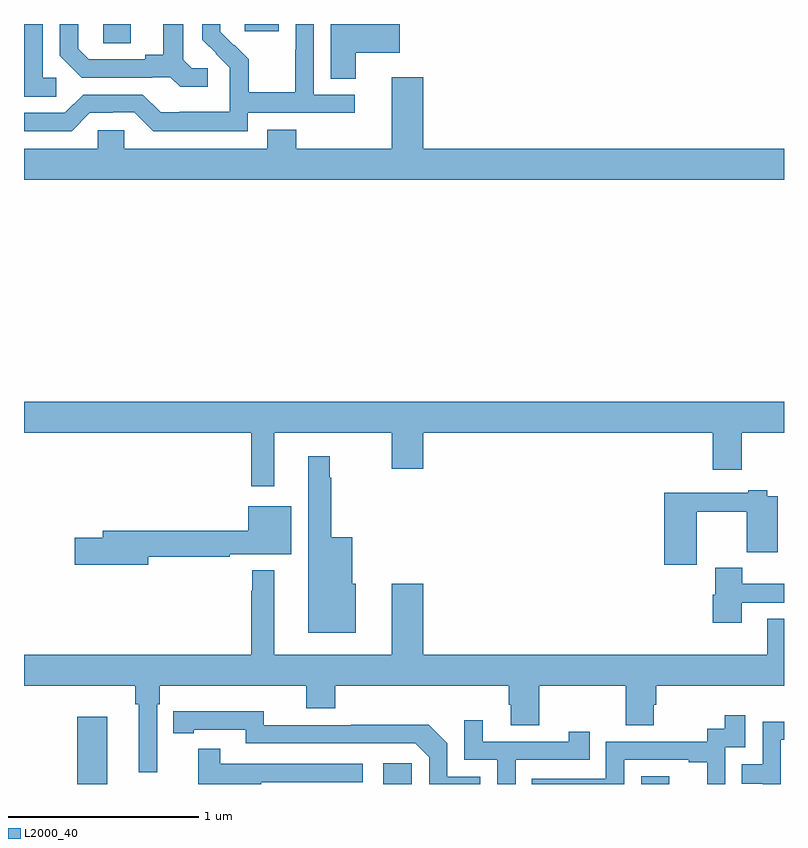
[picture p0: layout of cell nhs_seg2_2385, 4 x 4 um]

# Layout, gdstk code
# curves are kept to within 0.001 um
import gdstk
lib = gdstk.Library(unit=1e-6, precision=1e-09)
def R(c, l, rs):  # rectangles x0, y0, x1, y1
    for r in rs: c.add(gdstk.rectangle(r[:2], r[2:], *l))
def P(c, l, *ps):  # polygons
    for p in ps: c.add(gdstk.Polygon(p, *l))
L2000_40 = (2000, 40)

nhs_seg2_2385 = lib.new_cell('nhs_seg2_2385')
R(nhs_seg2_2385, L2000_40, [(235.28,633.8,235.438,634.153), (236.892,633.8,237.042,633.91), (238.248,633.8,238.396,633.841), (235.416,637.699,235.561,637.8), (236.162,637.761,236.341,637.8)])
P(nhs_seg2_2385, L2000_40, [(236.178,637.332),(236.74,637.332),(236.74,637.428),(236.526,637.428),(236.526,637.8),(236.43,637.8),(236.43,637.664),(236.428,637.664),(236.428,637.441),(236.183,637.441),(236.183,637.615),(236.106,637.692),(236.103,637.689),(236.033,637.76),(236.033,637.8),(235.938,637.8),(235.938,637.718),(236.084,637.57),(236.084,637.473),(236.082,637.473),(236.082,637.339),(235.819,637.339),(235.819,637.335),(235.719,637.335),(235.626,637.428),(235.311,637.428),(235.215,637.332),(235,637.332),(235,637.236),(235.251,637.236),(235.347,637.332),(235.466,637.332),(235.466,637.335),(235.581,637.335),(235.681,637.235),(236.178,637.235)],
  [(235.171,637.518),(235.098,637.518),(235.098,637.8),(235.002,637.8),(235.002,637.417),(235.171,637.417)],
  [(235.966,637.566),(235.884,637.566),(235.837,637.613),(235.837,637.8),(235.733,637.8),(235.733,637.637),(235.637,637.637),(235.637,637.614),(235.342,637.614),(235.285,637.671),(235.285,637.8),(235.188,637.8),(235.188,637.634),(235.304,637.518),(235.676,637.518),(235.676,637.521),(235.77,637.521),(235.822,637.469),(235.966,637.469)],
  [(236.746,637.649),(236.977,637.649),(236.977,637.8),(236.615,637.8),(236.615,637.513),(236.746,637.513)],
  [(239,637.144),(237.1,637.144),(237.1,637.519),(236.936,637.519),(236.936,637.144),(236.432,637.144),(236.432,637.243),(236.279,637.243),(236.279,637.144),(235.527,637.144),(235.527,637.242),(235.389,637.242),(235.389,637.144),(235,637.144),(235,636.98),(239,636.98)],
  [(236.317,635.648),(236.936,635.648),(236.936,635.46),(237.1,635.46),(237.1,635.648),(238.625,635.648),(238.625,635.454),(238.777,635.454),(238.777,635.648),(239,635.648),(239,635.812),(235,635.812),(235,635.648),(236.196,635.648),(236.196,635.367),(236.317,635.367)],
  [(236.746,634.854),(236.728,634.854),(236.728,635.098),(236.617,635.098),(236.617,635.411),(236.609,635.411),(236.609,635.524),(236.495,635.524),(236.495,634.595),(236.746,634.595)],
  [(238.54,635.233),(238.804,635.233),(238.804,635.021),(238.966,635.021),(238.966,635.314),(238.911,635.314),(238.911,635.347),(238.811,635.347),(238.811,635.334),(238.37,635.334),(238.37,634.953),(238.54,634.953)],
  [(235.654,634.996),(236.084,634.996),(236.084,635.009),(236.407,635.009),(236.407,635.263),(236.18,635.263),(236.18,635.132),(235.415,635.132),(235.415,635.096),(235.266,635.096),(235.266,634.954),(235.654,634.954)],
  [(238.777,634.755),(239,634.755),(239,634.855),(238.78,634.855),(238.78,634.939),(238.637,634.939),(238.637,634.797),(238.625,634.797),(238.625,634.65),(238.777,634.65)],
  [(235.701,634.22),(235.715,634.22),(235.715,634.316),(236.486,634.316),(236.486,634.199),(236.639,634.199),(236.639,634.316),(237.551,634.316),(237.551,634.218),(237.563,634.218),(237.563,634.108),(237.711,634.108),(237.711,634.316),(238.168,634.316),(238.168,634.108),(238.315,634.108),(238.315,634.218),(238.328,634.218),(238.328,634.316),(239,634.316),(239,634.67),(238.913,634.67),(238.913,634.48),(237.1,634.48),(237.1,634.855),(236.936,634.855),(236.936,634.48),(236.317,634.48),(236.317,634.924),(236.202,634.924),(236.202,634.817),(236.196,634.817),(236.196,634.48),(235,634.48),(235,634.316),(235.585,634.316),(235.585,634.22),(235.604,634.22),(235.604,633.861),(235.701,633.861)],
  [(237.402,633.837),(237.228,633.837),(237.228,634.014),(237.13,634.112),(236.722,634.112),(236.722,634.11),(236.262,634.11),(236.262,634.183),(235.786,634.182),(235.786,634.066),(235.894,634.066),(235.894,634.086),(236.166,634.086),(236.166,634.014),(237.06,634.014),(237.132,633.942),(237.132,633.8),(237.402,633.8)],
  [(238.158,633.927),(238.499,633.927),(238.499,633.915),(238.595,633.915),(238.595,633.8),(238.692,633.8),(238.692,633.993),(238.797,633.993),(238.797,634.162),(238.689,634.162),(238.689,634.092),(238.596,634.092),(238.596,634.023),(238.062,634.023),(238.062,633.828),(237.673,633.828),(237.673,633.8),(238.158,633.8)],
  [(237.588,633.927),(237.977,633.927),(237.977,634.075),(237.866,634.075),(237.866,634.023),(237.415,634.023),(237.415,634.135),(237.318,634.135),(237.318,633.927),(237.492,633.927),(237.492,633.8),(237.588,633.8)],
  [(238.983,634.032),(239,634.032),(239,634.128),(238.887,634.128),(238.887,633.903),(238.777,633.903),(238.777,633.802),(238.887,633.802),(238.887,633.8),(238.983,633.8)],
  [(236.249,633.81),(236.782,633.81),(236.782,633.906),(236.033,633.906),(236.033,633.985),(235.916,633.985),(235.916,633.8),(236.249,633.8)])

lib.write_gds('nhs_seg2_2385.gds')
